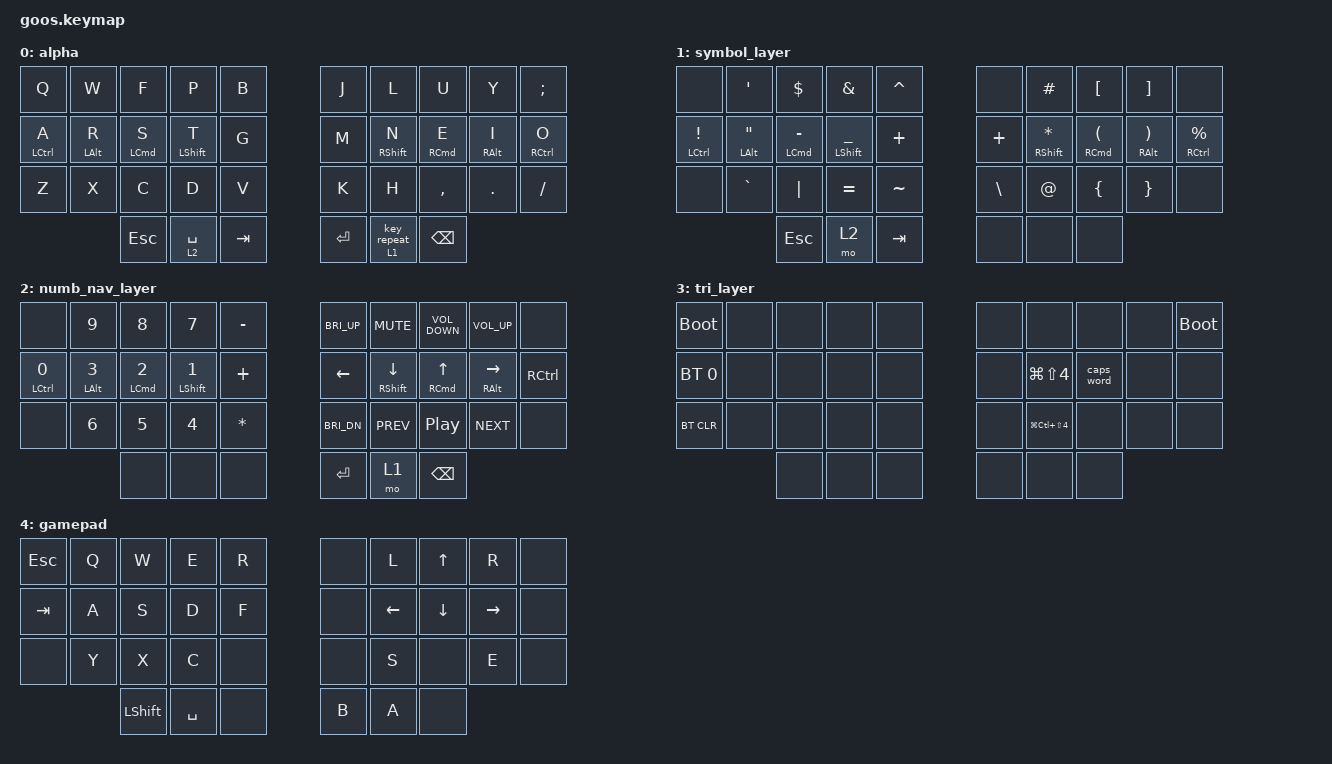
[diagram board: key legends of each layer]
/*
 * Copyright (c) 2021 The ZMK Contributors
 *
 * SPDX-License-Identifier: MIT
 */

#include <behaviors.dtsi>
#include <dt-bindings/zmk/bt.h>
#include <dt-bindings/zmk/keys.h>

&lt { flavor = "hold-preferred"; };

/ {
    conditional_layers {
        compatible = "zmk,conditional-layers";

        Tri {
            if-layers = <2 1>;
            then-layer = <3>;
        };
    };

    behaviors {
        hrm: home_row_mods {
            compatible = "zmk,behavior-hold-tap";
            label = "HOME_ROW_MODS";
            #binding-cells = <2>;
            flavor = "balanced";
            tapping-term-ms = <200>;
            bindings = <&kp>, <&kp>;
        };

        lt_repeat: lt_repeat {
            compatible = "zmk,behavior-hold-tap";
            label = "LT_REPEAT";
            bindings = <&mo>, <&key_repeat>;

            #binding-cells = <2>;
            flavor = "hold-preferred";
            tapping-term-ms = <200>;
        };
    };

    combos {
        compatible = "zmk,combos";

        Gamepad {
            bindings = <&tog 4>;
            key-positions = <9 29>;
        };
    };

    keymap {
        compatible = "zmk,keymap";

        alpha {
            bindings = <
&kp Q                &kp W            &kp F                &kp P              &kp B                              &kp J           &kp L               &kp U                 &kp Y             &kp SEMICOLON
&hrm LEFT_CONTROL A  &hrm LEFT_ALT R  &hrm LEFT_COMMAND S  &hrm LEFT_SHIFT T  &kp G                              &kp M           &hrm RIGHT_SHIFT N  &hrm RIGHT_COMMAND E  &hrm RIGHT_ALT I  &hrm RIGHT_CONTROL O
&kp Z                &kp X            &kp C                &kp D              &kp V                              &kp K           &kp H               &kp COMMA             &kp DOT           &kp SLASH
                                                           &kp ESC            &lt 2 SPACE  &kp TAB    &kp ENTER  &lt_repeat 1 0  &kp BSPC
            >;
        };

        Symbol {
            bindings = <
&none                          &kp SINGLE_QUOTE             &kp DOLLAR               &kp AMPERSAND               &kp CARET                    &none          &kp POUND               &kp LEFT_BRACKET                     &kp RIGHT_BRACKET                 &none
&hrm LEFT_CONTROL EXCLAMATION  &hrm LEFT_ALT DOUBLE_QUOTES  &hrm LEFT_COMMAND MINUS  &hrm LEFT_SHIFT UNDERSCORE  &kp PLUS                     &kp PLUS       &hrm RIGHT_SHIFT ASTRK  &hrm RIGHT_COMMAND LEFT_PARENTHESIS  &hrm RIGHT_ALT RIGHT_PARENTHESIS  &hrm RIGHT_CONTROL PERCENT
&none                          &kp GRAVE                    &kp PIPE                 &kp EQUAL                   &kp TILDE                    &kp BACKSLASH  &kp AT_SIGN             &kp LEFT_BRACE                       &kp RIGHT_BRACE                   &none
                                                                                     &kp ESC                     &mo 2      &kp TAB    &none  &none          &none
            >;

            label = "symbol_layer";
        };

        Numbers_Navigation {
            bindings = <
&none                 &kp NUMBER_9      &kp NUMBER_8          &kp NUMBER_7        &kp MINUS                      &kp C_BRI_UP  &kp C_MUTE             &kp C_VOLUME_DOWN      &kp C_VOLUME_UP       &none
&hrm LEFT_CONTROL N0  &hrm LEFT_ALT N3  &hrm LEFT_COMMAND N2  &hrm LEFT_SHIFT N1  &kp PLUS                       &kp LEFT      &hrm RIGHT_SHIFT DOWN  &hrm RIGHT_COMMAND UP  &hrm RIGHT_ALT RIGHT  &kp RIGHT_CONTROL
&none                 &kp NUMBER_6      &kp NUMBER_5          &kp NUMBER_4        &kp STAR                       &kp C_BRI_DN  &kp C_PREV             &kp C_PP               &kp C_NEXT            &none
                                                              &none               &none      &none    &kp ENTER  &mo 1         &kp BSPC
            >;

            label = "numb_nav_layer";
        };

        Tri {
            bindings = <
&bootloader   &none  &none  &none  &none                  &none  &none               &none       &none  &bootloader
&bt BT_SEL 0  &none  &none  &none  &none                  &none  &kp LG(LS(N4))      &caps_word  &none  &none
&bt BT_CLR    &none  &none  &none  &none                  &none  &kp LG(LC(LS(N4)))  &none       &none  &none
                            &none  &none  &none    &none  &none  &none
            >;

            label = "tri_layer";
        };

        gamepad {
            bindings = <
&kp ESC  &kp Q  &kp W  &kp E      &kp R                      &none  &kp L     &kp UP    &kp R      &none
&kp TAB  &kp A  &kp S  &kp D      &kp F                      &none  &kp LEFT  &kp DOWN  &kp RIGHT  &none
&none    &kp Y  &kp X  &kp C      &none                      &none  &kp S     &none     &kp E      &none
                       &kp LSHFT  &kp SPACE  &none    &kp B  &kp A  &none
            >;
        };
    };
};
